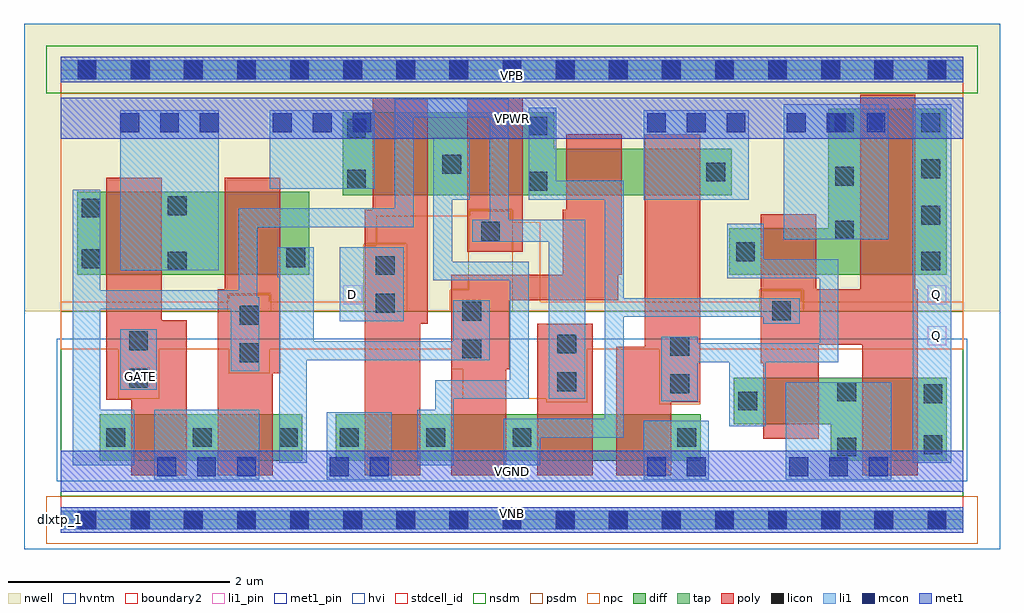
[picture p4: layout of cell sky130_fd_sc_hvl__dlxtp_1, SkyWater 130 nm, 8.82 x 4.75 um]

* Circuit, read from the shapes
.subckt sky130_fd_sc_hvl__dlxtp_1 D GATE Q VGND VNB VPB VPWR
XM1 VGND GATE n1 VNB sky130_fd_pr__nfet_g5v0d10v5 w=0.42 l=0.5
XM2 n2 n1 VGND VNB sky130_fd_pr__nfet_g5v0d10v5 w=0.42 l=0.5
XM3 n3 D VGND VNB sky130_fd_pr__nfet_g5v0d10v5 w=0.42 l=0.5
XM4 n4 n2 n3 VNB sky130_fd_pr__nfet_g5v0d10v5 w=0.42 l=0.5
XM5 n5 n1 n4 VNB sky130_fd_pr__nfet_g5v0d10v5 w=0.42 l=0.5
XM6 VGND n6 n5 VNB sky130_fd_pr__nfet_g5v0d10v5 w=0.42 l=0.5
XM7 VGND n4 n6 VNB sky130_fd_pr__nfet_g5v0d10v5 w=0.42 l=0.5
XM8 Q n4 VGND VNB sky130_fd_pr__nfet_g5v0d10v5 w=0.75 l=0.5
XM9 VPWR GATE n1 VPB sky130_fd_pr__pfet_g5v0d10v5 w=0.75 l=0.5
XM10 n2 n1 VPWR VPB sky130_fd_pr__pfet_g5v0d10v5 w=0.75 l=0.5
XM11 n3 D VPWR VPB sky130_fd_pr__pfet_g5v0d10v5 w=0.75 l=0.5
XM12 n4 n1 n3 VPB sky130_fd_pr__pfet_g5v0d10v5 w=0.75 l=0.5
XM13 n7 n2 n4 VPB sky130_fd_pr__pfet_g5v0d10v5 w=0.42 l=0.5
XM14 VPWR n6 n7 VPB sky130_fd_pr__pfet_g5v0d10v5 w=0.42 l=0.5
XM15 VPWR n4 n6 VPB sky130_fd_pr__pfet_g5v0d10v5 w=0.42 l=0.5
XM16 Q n4 VPWR VPB sky130_fd_pr__pfet_g5v0d10v5 w=1.5 l=0.5
.ends

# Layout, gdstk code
import gdstk
lib = gdstk.Library(unit=1e-6, precision=1e-09)
def R(c, l, rs):  # rectangles x0, y0, x1, y1
    for r in rs: c.add(gdstk.rectangle(r[:2], r[2:], *l))
def A(c, l, x, y, w, h, nx, ny, dx, dy):  # array of equal rectangles
    R(c, l, [(x+i*dx, y+j*dy, x+i*dx+w, y+j*dy+h) for i in range(nx) for j in range(ny)])
def P(c, l, *ps):  # polygons
    for p in ps: c.add(gdstk.Polygon(p, *l))
nwell = (64, 20)
diff = (65, 20)
tap = (65, 44)
poly = (66, 20)
licon = (66, 44)
li1_pin = (67, 16)
li1 = (67, 20)
mcon = (67, 44)
met1_pin = (68, 16)
met1 = (68, 20)
hvi = (75, 20)
stdcell_id = (81, 4)
nsdm = (93, 44)
psdm = (94, 20)
npc = (95, 20)
hvntm = (125, 20)
boundary2 = (236, 0)

sky130_fd_sc_hvl__dlxtp_ = lib.new_cell('sky130_fd_sc_hvl__dlxtp_1')
R(sky130_fd_sc_hvl__dlxtp_, nwell, [(-0.33,1.885,8.49,4.485)])
R(sky130_fd_sc_hvl__dlxtp_, diff, [(0.355,0.535,2.185,0.955), (2.485,0.535,5.785,0.955), (0.15,2.215,2.25,2.965)])
P(sky130_fd_sc_hvl__dlxtp_, diff, [(2.55,2.935),(2.55,3.685),(4.46,3.685),(4.46,3.355),(6.065,3.355),(6.065,2.935)],
  [(6.045,2.215),(6.045,2.635),(6.94,2.635),(6.94,3.715),(8.01,3.715),(8.01,2.215)],
  [(6.96,0.535),(6.96,0.865),(6.085,0.865),(6.085,1.285),(8.01,1.285),(8.01,0.535)])
R(sky130_fd_sc_hvl__dlxtp_, tap, [(0,-0.085,8.16,0.085), (0,3.985,8.16,4.155)])
R(sky130_fd_sc_hvl__dlxtp_, poly, [(4.31,0.405,4.81,1.775), (3.675,2.425,4.175,3.815)])
P(sky130_fd_sc_hvl__dlxtp_, poly, [(0.64,0.405),(0.64,1.085),(0.415,1.085),(0.415,3.095),(0.915,3.095),(0.915,1.805),(1.14,1.805),(1.14,0.405)],
  [(1.42,0.405),(1.42,2.085),(1.485,2.085),(1.485,3.095),(1.985,3.095),(1.985,1.325),(1.92,1.325),(1.92,0.405)],
  [(2.75,0.405),(2.75,2.805),(2.82,2.805),(2.82,3.815),(3.32,3.815),(3.32,1.775),(3.25,1.775),(3.25,0.405)],
  [(3.53,0.405),(3.53,2.215),(4.54,2.215),(4.54,2.805),(4.57,2.805),(4.57,3.485),(5.07,3.485),(5.07,2.215),(5.04,2.215),(5.04,1.985),(4.06,1.985),(4.06,1.36),(4.03,1.36),(4.03,0.405)],
  [(5.02,0.405),(5.02,1.565),(5.28,1.565),(5.28,3.485),(5.78,3.485),(5.78,1.065),(5.52,1.065),(5.52,0.405)],
  [(7.245,0.405),(7.245,1.585),(6.85,1.585),(6.85,0.735),(6.35,0.735),(6.35,1.415),(6.33,1.415),(6.33,2.765),(6.83,2.765),(6.83,2.085),(7.225,2.085),(7.225,3.845),(7.725,3.845),(7.725,2.085),(7.745,2.085),(7.745,0.405)])
A(sky130_fd_sc_hvl__dlxtp_, licon, 0.155, -0.085, 0.17, 0.17, 17, 2, 0.48, 4.07)
A(sky130_fd_sc_hvl__dlxtp_, licon, 0.415, 0.66, 0.17, 0.17, 3, 1, 0.78, 0)
A(sky130_fd_sc_hvl__dlxtp_, licon, 2.525, 0.66, 0.17, 0.17, 3, 1, 0.78, 0)
A(sky130_fd_sc_hvl__dlxtp_, licon, 7, 2.535, 0.17, 0.17, 1, 3, 0, 0.485)
R(sky130_fd_sc_hvl__dlxtp_, licon, [(7.02,0.575,7.19,0.745), (7.8,0.595,7.97,0.765), (5.575,0.66,5.745,0.83), (6.125,0.99,6.295,1.16), (7.8,1.055,7.97,1.225), (7.02,1.075,7.19,1.245), (5.51,1.145,5.68,1.315), (4.49,1.165,4.66,1.335), (0.62,1.195,0.79,1.365), (1.62,1.425,1.79,1.595), (3.63,1.46,3.8,1.63), (5.51,1.485,5.68,1.655), (4.49,1.505,4.66,1.675), (0.62,1.535,0.79,1.705), (1.62,1.765,1.79,1.935), (3.63,1.8,3.8,1.97), (6.43,1.805,6.6,1.975), (2.85,1.875,3.02,2.045), (2.85,2.215,3.02,2.385), (0.97,2.255,1.14,2.425), (7.78,2.255,7.95,2.425), (0.19,2.275,0.36,2.445), (2.04,2.285,2.21,2.455), (6.105,2.34,6.275,2.51), (3.8,2.525,3.97,2.695), (7.78,2.67,7.95,2.84), (0.19,2.735,0.36,2.905), (0.97,2.755,1.14,2.925), (4.23,2.975,4.4,3.145), (2.59,2.995,2.76,3.165), (5.835,3.06,6.005,3.23), (7.78,3.09,7.95,3.26), (3.45,3.13,3.62,3.3), (2.59,3.455,2.76,3.625), (4.23,3.475,4.4,3.645), (7.78,3.505,7.95,3.675)])
R(sky130_fd_sc_hvl__dlxtp_, li1_pin, [(0.635,1.21,0.805,1.38), (7.835,1.58,8.005,1.75), (2.555,1.95,2.725,2.12), (7.835,1.95,8.005,2.12)])
R(sky130_fd_sc_hvl__dlxtp_, li1, [(0,-0.085,8.16,0.085), (0.845,0.365,1.795,0.995), (2.405,0.365,2.995,0.975), (5.27,0.365,5.86,0.895), (6.555,0.365,7.505,1.245), (7.7,0.515,8.05,3.755), (0.54,1.175,0.87,1.725), (2.525,1.795,3.1,2.465), (0.54,2.255,1.43,3.705), (6.535,2.535,7.485,3.755), (5.27,2.895,6.22,3.705), (1.89,2.995,2.84,3.705), (0,3.985,8.16,4.155)])
P(sky130_fd_sc_hvl__dlxtp_, li1, [(1.975,0.515),(1.975,2.195),(1.96,2.195),(1.96,2.465),(2.29,2.465),(2.29,1.615),(3.55,1.615),(3.55,1.985),(3.88,1.985),(3.88,1.445),(2.225,1.445),(2.225,0.515)],
  [(3.225,0.495),(3.225,0.995),(3.385,0.995),(3.385,1.265),(4.06,1.265),(4.06,2.165),(3.37,2.165),(3.37,3.455),(3.7,3.455),(3.7,2.895),(3.54,2.895),(3.54,2.335),(4.23,2.335),(4.23,1.095),(3.555,1.095),(3.555,0.495)],
  [(0.11,0.495),(0.11,2.985),(0.36,2.985),(0.36,2.075),(1.61,2.075),(1.61,2.815),(3.02,2.815),(3.02,3.805),(4.05,3.805),(4.05,2.715),(4.74,2.715),(4.74,1.095),(4.41,1.095),(4.41,2.515),(3.72,2.515),(3.72,2.715),(3.88,2.715),(3.88,3.635),(3.19,3.635),(3.19,2.645),(1.78,2.645),(1.78,2.015),(1.795,2.015),(1.795,1.345),(1.54,1.345),(1.54,1.905),(0.36,1.905),(0.36,0.995),(0.665,0.995),(0.665,0.495)],
  [(4.005,0.495),(4.005,0.915),(4.92,0.915),(4.92,2.895),(4.23,2.895),(4.23,3.725),(4.48,3.725),(4.48,3.065),(5.09,3.065),(5.09,2.005),(6.68,2.005),(6.68,1.775),(6.35,1.775),(6.35,1.835),(5.09,1.835),(5.09,0.745),(4.335,0.745),(4.335,0.495)],
  [(6.045,0.845),(6.045,1.425),(5.76,1.425),(5.76,1.075),(5.43,1.075),(5.43,1.655),(5.76,1.655),(5.76,1.595),(6.86,1.595),(6.86,2.185),(6.025,2.185),(6.025,2.675),(6.355,2.675),(6.355,2.355),(7.03,2.355),(7.03,1.425),(6.375,1.425),(6.375,0.845)])
A(sky130_fd_sc_hvl__dlxtp_, mcon, 0.875, 0.395, 0.17, 0.17, 3, 1, 0.36, 0)
A(sky130_fd_sc_hvl__dlxtp_, mcon, 6.585, 0.395, 0.17, 0.17, 3, 1, 0.36, 0)
A(sky130_fd_sc_hvl__dlxtp_, mcon, 0.54, 3.505, 0.17, 0.17, 3, 1, 0.36, 0)
A(sky130_fd_sc_hvl__dlxtp_, mcon, 1.92, 3.505, 0.17, 0.17, 3, 1, 0.36, 0)
A(sky130_fd_sc_hvl__dlxtp_, mcon, 5.3, 3.505, 0.17, 0.17, 3, 1, 0.36, 0)
A(sky130_fd_sc_hvl__dlxtp_, mcon, 6.565, 3.505, 0.17, 0.17, 3, 1, 0.36, 0)
R(sky130_fd_sc_hvl__dlxtp_, mcon, [(0.155,-0.085,0.325,0.085), (0.155,-0.085,0.325,0.085), (0.635,-0.085,0.805,0.085), (0.635,-0.085,0.805,0.085), (1.115,-0.085,1.285,0.085), (1.115,-0.085,1.285,0.085), (1.595,-0.085,1.765,0.085), (1.595,-0.085,1.765,0.085), (2.075,-0.085,2.245,0.085), (2.075,-0.085,2.245,0.085), (2.555,-0.085,2.725,0.085), (2.555,-0.085,2.725,0.085), (3.035,-0.085,3.205,0.085), (3.035,-0.085,3.205,0.085), (3.515,-0.085,3.685,0.085), (3.515,-0.085,3.685,0.085), (3.995,-0.085,4.165,0.085), (3.995,-0.085,4.165,0.085), (4.475,-0.085,4.645,0.085), (4.475,-0.085,4.645,0.085), (4.955,-0.085,5.125,0.085), (4.955,-0.085,5.125,0.085), (5.435,-0.085,5.605,0.085), (5.435,-0.085,5.605,0.085), (5.915,-0.085,6.085,0.085), (5.915,-0.085,6.085,0.085), (6.395,-0.085,6.565,0.085), (6.395,-0.085,6.565,0.085), (6.875,-0.085,7.045,0.085), (6.875,-0.085,7.045,0.085), (7.355,-0.085,7.525,0.085), (7.355,-0.085,7.525,0.085), (7.835,-0.085,8.005,0.085), (7.835,-0.085,8.005,0.085), (2.435,0.395,2.605,0.565), (2.795,0.395,2.965,0.565), (5.3,0.395,5.47,0.565), (5.66,0.395,5.83,0.565), (0.155,3.985,0.325,4.155), (0.155,3.985,0.325,4.155), (0.635,3.985,0.805,4.155), (0.635,3.985,0.805,4.155), (1.115,3.985,1.285,4.155), (1.115,3.985,1.285,4.155), (1.595,3.985,1.765,4.155), (1.595,3.985,1.765,4.155), (2.075,3.985,2.245,4.155), (2.075,3.985,2.245,4.155), (2.555,3.985,2.725,4.155), (2.555,3.985,2.725,4.155), (3.035,3.985,3.205,4.155), (3.035,3.985,3.205,4.155), (3.515,3.985,3.685,4.155), (3.515,3.985,3.685,4.155), (3.995,3.985,4.165,4.155), (3.995,3.985,4.165,4.155), (4.475,3.985,4.645,4.155), (4.475,3.985,4.645,4.155), (4.955,3.985,5.125,4.155), (4.955,3.985,5.125,4.155), (5.435,3.985,5.605,4.155), (5.435,3.985,5.605,4.155), (5.915,3.985,6.085,4.155), (5.915,3.985,6.085,4.155), (6.395,3.985,6.565,4.155), (6.395,3.985,6.565,4.155), (6.875,3.985,7.045,4.155), (6.875,3.985,7.045,4.155), (7.355,3.985,7.525,4.155), (7.355,3.985,7.525,4.155), (7.835,3.985,8.005,4.155), (7.835,3.985,8.005,4.155)])
R(sky130_fd_sc_hvl__dlxtp_, met1_pin, [(0,0,8.16,0.115), (0,0.255,8.16,0.625), (0,3.445,8.16,3.815), (0,3.955,8.16,4.07)])
R(sky130_fd_sc_hvl__dlxtp_, met1, [(0,-0.115,8.16,0.115), (0,0.255,8.16,0.625), (0,3.445,8.16,3.815), (0,3.955,8.16,4.185)])
R(sky130_fd_sc_hvl__dlxtp_, hvi, [(-0.33,-0.265,8.49,4.485)])
R(sky130_fd_sc_hvl__dlxtp_, stdcell_id, [(0,0,8.16,4.07)])
R(sky130_fd_sc_hvl__dlxtp_, nsdm, [(0,0.215,8.16,1.885), (-0.13,3.855,8.29,4.285), (0,3.855,8.16,4.07)])
R(sky130_fd_sc_hvl__dlxtp_, psdm, [(-0.13,-0.215,8.29,0.215)])
P(sky130_fd_sc_hvl__dlxtp_, psdm, [(0,1.885),(0,3.855),(8.16,3.855),(8.16,1.885),(6.71,1.885),(6.71,2.085),(6.32,2.085),(6.32,1.885),(4.08,1.885),(4.08,2.805),(3.69,2.805),(3.69,2.08),(3.52,2.08),(3.52,1.885),(3.13,1.885),(3.13,2.495),(2.74,2.495),(2.74,1.885),(1.9,1.885),(1.9,2.045),(1.51,2.045),(1.51,1.885)])
P(sky130_fd_sc_hvl__dlxtp_, npc, [(5.41,1.045),(5.41,1.545),(4.76,1.545),(4.76,1.065),(4.39,1.065),(4.39,1.095),(3.635,1.095),(3.635,1.36),(3.53,1.36),(3.53,1.545),(1.89,1.545),(1.89,1.325),(1.52,1.325),(1.52,1.545),(0.89,1.545),(0.89,1.095),(0.52,1.095),(0.52,1.545),(0,1.545),(0,1.97),(1.52,1.97),(1.52,2.035),(1.89,2.035),(1.89,1.97),(2.75,1.97),(2.75,2.485),(2.855,2.485),(2.855,2.75),(3.7,2.75),(3.7,2.795),(4.07,2.795),(4.07,2.69),(4.335,2.69),(4.335,1.97),(6.33,1.97),(6.33,2.075),(6.7,2.075),(6.7,1.97),(8.16,1.97),(8.16,1.545),(5.78,1.545),(5.78,1.045)])
R(sky130_fd_sc_hvl__dlxtp_, hvntm, [(-0.035,0.35,8.195,1.64)])
R(sky130_fd_sc_hvl__dlxtp_, boundary2, [(0,0,8.16,4.07)])
sky130_fd_sc_hvl__dlxtp_.add(gdstk.Label('dlxtp_1', (0,0), layer=83, texttype=44))
sky130_fd_sc_hvl__dlxtp_.add(gdstk.Label('VGND', (4.08,0.44), layer=68, texttype=5))
sky130_fd_sc_hvl__dlxtp_.add(gdstk.Label('VNB', (4.08,0.058), layer=68, texttype=5))
sky130_fd_sc_hvl__dlxtp_.add(gdstk.Label('VPWR', (4.08,3.63), layer=68, texttype=5))
sky130_fd_sc_hvl__dlxtp_.add(gdstk.Label('VPB', (4.08,4.013), layer=68, texttype=5))
sky130_fd_sc_hvl__dlxtp_.add(gdstk.Label('D', (2.64,2.035), layer=67, texttype=5))
sky130_fd_sc_hvl__dlxtp_.add(gdstk.Label('GATE', (0.72,1.295), layer=67, texttype=5))
sky130_fd_sc_hvl__dlxtp_.add(gdstk.Label('Q', (7.92,1.665), layer=67, texttype=5))
sky130_fd_sc_hvl__dlxtp_.add(gdstk.Label('Q', (7.92,2.035), layer=67, texttype=5))

lib.write_gds('sky130_fd_sc_hvl__dlxtp_1.gds')
